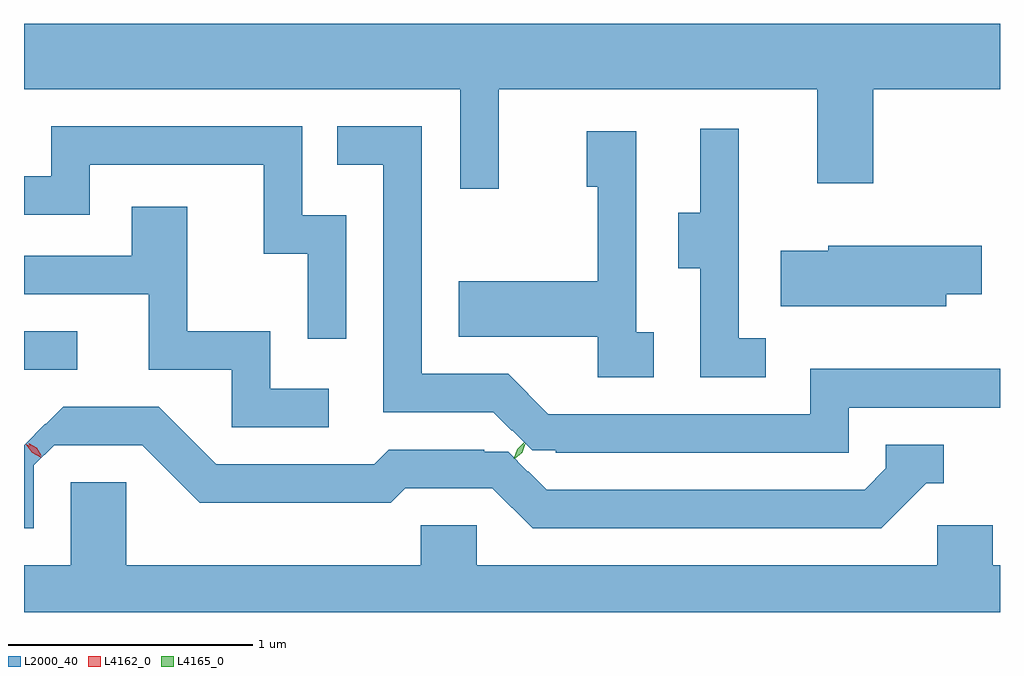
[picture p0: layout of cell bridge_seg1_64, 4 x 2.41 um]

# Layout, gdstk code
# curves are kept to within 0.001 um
import gdstk
lib = gdstk.Library(unit=1e-6, precision=1e-09)
def R(c, l, rs):  # rectangles x0, y0, x1, y1
    for r in rs: c.add(gdstk.rectangle(r[:2], r[2:], *l))
def P(c, l, *ps):  # polygons
    for p in ps: c.add(gdstk.Polygon(p, *l))
L2000_40 = (2000, 40)
L4162_0 = (4162, 0)
L4165_0 = (4165, 0)

bridge_seg1_64 = lib.new_cell('bridge_seg1_64')
R(bridge_seg1_64, L2000_40, [(1894.729,840.706,1894.948,840.864)])
P(bridge_seg1_64, L2000_40, [(1896.674,841.856),(1897.981,841.856),(1897.981,841.471),(1898.209,841.471),(1898.209,841.856),(1898.729,841.856),(1898.729,842.124),(1894.729,842.124),(1894.729,841.856),(1896.516,841.856),(1896.516,841.448),(1896.674,841.448)],
  [(1898.109,840.551),(1898.729,840.551),(1898.729,840.709),(1897.951,840.709),(1897.951,840.524),(1896.878,840.524),(1896.713,840.689),(1896.359,840.689),(1896.359,841.704),(1896.013,841.704),(1896.013,841.546),(1896.201,841.546),(1896.201,840.531),(1896.652,840.531),(1896.728,840.455),(1896.73,840.457),(1896.811,840.376),(1896.908,840.376),(1896.908,840.366),(1898.109,840.366)],
  [(1896.049,841.339),(1895.869,841.339),(1895.869,841.704),(1894.841,841.704),(1894.841,841.499),(1894.729,841.499),(1894.729,841.341),(1894.999,841.341),(1894.999,841.546),(1895.711,841.546),(1895.711,841.181),(1895.891,841.181),(1895.891,840.833),(1896.049,840.833)],
  [(1897.768,840.834),(1897.659,840.834),(1897.659,841.693),(1897.501,841.693),(1897.501,841.349),(1897.411,841.349),(1897.411,841.121),(1897.501,841.121),(1897.501,840.676),(1897.768,840.676)],
  [(1897.309,840.859),(1897.239,840.859),(1897.239,841.684),(1897.036,841.684),(1897.036,841.456),(1897.081,841.456),(1897.081,841.069),(1896.511,841.069),(1896.511,840.841),(1897.081,840.841),(1897.081,840.676),(1897.309,840.676)],
  [(1895.978,840.629),(1895.739,840.629),(1895.739,840.864),(1895.399,840.864),(1895.399,841.374),(1895.171,841.374),(1895.171,841.174),(1894.729,841.174),(1894.729,841.016),(1895.241,841.016),(1895.241,840.706),(1895.581,840.706),(1895.581,840.471),(1895.978,840.471)],
  [(1898.509,841.016),(1898.654,841.016),(1898.654,841.214),(1898.026,841.214),(1898.026,841.194),(1897.831,841.194),(1897.831,840.966),(1898.509,840.966)],
  [(1894.769,840.314),(1894.852,840.397),(1895.214,840.396),(1895.449,840.161),(1896.232,840.161),(1896.292,840.221),(1896.649,840.221),(1896.814,840.056),(1898.242,840.056),(1898.427,840.241),(1898.498,840.241),(1898.498,840.399),(1898.261,840.399),(1898.261,840.302),(1898.174,840.214),(1896.871,840.214),(1896.795,840.29),(1896.793,840.288),(1896.713,840.369),(1896.615,840.369),(1896.615,840.379),(1896.224,840.379),(1896.164,840.319),(1895.517,840.319),(1895.282,840.554),(1894.89,840.554),(1894.818,840.482),(1894.816,840.484),(1894.729,840.397),(1894.729,840.056),(1894.769,840.056)],
  [(1898.729,839.904),(1898.699,839.904),(1898.699,840.069),(1898.471,840.069),(1898.471,839.904),(1896.584,839.904),(1896.584,840.069),(1896.356,840.069),(1896.356,839.904),(1895.149,839.904),(1895.149,840.244),(1894.921,840.244),(1894.921,839.904),(1894.729,839.904),(1894.729,839.712),(1898.729,839.712)])
P(bridge_seg1_64, L4162_0, [(1894.799,840.354),(1894.767,840.372),(1894.748,840.403),(1894.748,840.404),(1894.749,840.404),(1894.781,840.386),(1894.8,840.355),(1894.8,840.354)],
  [(1894.799,840.345),(1894.762,840.365),(1894.737,840.4),(1894.737,840.401),(1894.738,840.401),(1894.775,840.38),(1894.8,840.345),(1894.8,840.345)])
P(bridge_seg1_64, L4165_0, [(1896.736,840.341),(1896.736,840.342),(1896.75,840.38),(1896.779,840.408),(1896.779,840.408),(1896.78,840.408),(1896.766,840.369),(1896.737,840.341)],
  [(1896.74,840.341),(1896.74,840.342),(1896.754,840.378),(1896.783,840.403),(1896.784,840.403),(1896.784,840.402),(1896.77,840.366),(1896.741,840.341)])

lib.write_gds('bridge_seg1_64.gds')
